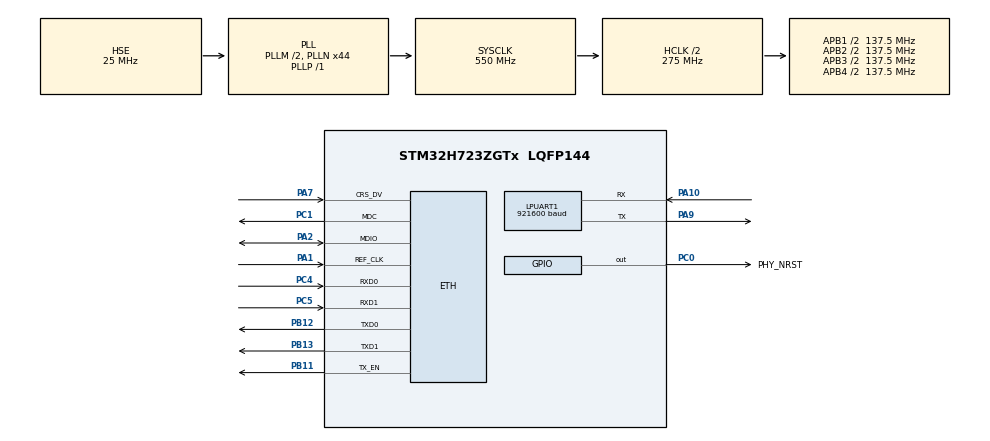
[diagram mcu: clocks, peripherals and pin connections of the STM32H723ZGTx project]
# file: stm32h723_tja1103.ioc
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CORTEX_M7.CPU_DCache=Enabled
CORTEX_M7.CPU_ICache=Enabled
CORTEX_M7.default_mode_Activation=1
ETH.MediaInterface=HAL_ETH_RMII_MODE
LPUART1.BaudRate=921600
LPUART1.DMADisableonRxErrorParam=UART_ADVFEATURE_DMA_DISABLEONRXERROR
LPUART1.OverrunDisableParam=UART_ADVFEATURE_OVERRUN_DISABLE
LWIP.BSP.number=1
LWIP.GATEWAY_ADDRESS=192.168.000.001
LWIP.IP_ADDRESS=192.168.000.068
LWIP.LWIP_DHCP=0
LWIP.NETMASK_ADDRESS=255.255.255.000
LWIP.Version=v2.2.1_Cube
LWIP0.BSP.STBoard=false
LWIP0.BSP.api=BSP_COMPONENT_DRIVER
LWIP0.BSP.component=USER_PHY
LWIP0.BSP.instance=USER_PHY
LWIP0.BSP.name=Driver_PHY
LWIP0.BSP.semaphore=S_USER_PHY
LWIP0.BSP.solution=USER_PHY
Mcu.Family=STM32H7
Mcu.Name=STM32H723ZGTx
Mcu.Package=LQFP144
NVIC.ETH_IRQn=true\:0\:0\:false\:false\:true\:true\:true\:true
NVIC.ETH_WKUP_IRQn=true\:0\:0\:false\:false\:true\:true\:true\:true
NVIC.PriorityGroup=NVIC_PRIORITYGROUP_4
PA1.Mode=RMII
PA1.Signal=ETH_REF_CLK
PA10.Mode=Asynchronous
PA10.Signal=LPUART1_RX
PA13(JTMS/SWDIO).Mode=Serial_Wire
PA13(JTMS/SWDIO).Signal=DEBUG_JTMS-SWDIO
PA14(JTCK/SWCLK).Mode=Serial_Wire
PA14(JTCK/SWCLK).Signal=DEBUG_JTCK-SWCLK
PA2.Mode=RMII
PA2.Signal=ETH_MDIO
PA7.Mode=RMII
PA7.Signal=ETH_CRS_DV
PA9.Mode=Asynchronous
PA9.Signal=LPUART1_TX
PB11.Mode=RMII
PB11.Signal=ETH_TX_EN
PB12.Mode=RMII
PB12.Signal=ETH_TXD0
PB13.Mode=RMII
PB13.Signal=ETH_TXD1
PC0.GPIO_Label=PHY_NRST
PC0.PinState=GPIO_PIN_RESET
PC0.Signal=GPIO_Output
PC1.Mode=RMII
PC1.Signal=ETH_MDC
PC14-OSC32_IN.Mode=LSE-External-Oscillator
PC14-OSC32_IN.Signal=RCC_OSC32_IN
PC15-OSC32_OUT.Mode=LSE-External-Oscillator
PC15-OSC32_OUT.Signal=RCC_OSC32_OUT
PC4.Mode=RMII
PC4.Signal=ETH_RXD0
PC5.Mode=RMII
PC5.Signal=ETH_RXD1
PH0-OSC_IN.Mode=HSE-External-Oscillator
PH0-OSC_IN.Signal=RCC_OSC_IN
PH1-OSC_OUT.Mode=HSE-External-Oscillator
PH1-OSC_OUT.Signal=RCC_OSC_OUT
ProjectManager.HeapSize=0x800
ProjectManager.StackSize=0x1000
ProjectManager.TargetToolchain=CMake
RCC.ADCFreq_Value=50390625
RCC.APB1Freq_Value=137500000
RCC.APB2Freq_Value=137500000
RCC.APB3Freq_Value=137500000
RCC.APB4Freq_Value=137500000
RCC.CortexFreq_Value=550000000
RCC.D1PPRE=RCC_APB3_DIV2
RCC.D2PPRE1=RCC_APB1_DIV2
RCC.D2PPRE2=RCC_APB2_DIV2
RCC.D3PPRE=RCC_APB4_DIV2
RCC.DIVM1=2
RCC.DIVN1=44
RCC.DIVP1=1
RCC.HCLKFreq_Value=275000000
RCC.HPRE=RCC_HCLK_DIV2
RCC.PLLFRACN=0
RCC.PLLSourceVirtual=RCC_PLLSOURCE_HSE
RCC.SYSCLKFreq_VALUE=550000000
RCC.SYSCLKSource=RCC_SYSCLKSOURCE_PLLCLK
RCC.USBFreq_Value=275000000
VP_LWIP_VS_Enabled.Mode=Enabled
VP_MEMORYMAP_VS_MEMORYMAP.Mode=CurAppReg
board=custom

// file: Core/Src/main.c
/* USER CODE BEGIN Header */
/**
  ******************************************************************************
  * @file           : main.c
  * @brief          : Main program body
  ******************************************************************************
  * @attention
  *
  * Copyright (c) 2026 STMicroelectronics.
  * All rights reserved.
  *
  * This software is licensed under terms that can be found in the LICENSE file
  * in the root directory of this software component.
  * If no LICENSE file comes with this software, it is provided AS-IS.
  *
  ******************************************************************************
  */
/* USER CODE END Header */
#include "main.h"
#include "lwip.h"

/* USER CODE BEGIN Includes */
#include "lwip/apps/lwiperf.h"
#include "lwip/ip4_addr.h"
#include "lwip/ip_addr.h"
#include "lwip/udp.h"
#include "shell_port.h"
#include <stdarg.h>
#include <stdio.h>

/* USER CODE END Includes */

/* USER CODE BEGIN PD */
#define APP_UDP_ECHO_PORT                        7U
#define APP_IPERF_PORT                           LWIPERF_TCP_PORT_DEFAULT

/* USER CODE END PD */

UART_HandleTypeDef hlpuart1;

/* USER CODE BEGIN PV */
static struct udp_pcb *udp_echo_pcb;
static void *lwiperf_session;

/* USER CODE END PV */

void SystemClock_Config(void);
static void MPU_Config(void);
static void MX_GPIO_Init(void);
static void MX_LPUART1_UART_Init(void);
/* USER CODE BEGIN PFP */
static void CPU_CACHE_Enable(void);
int debug_printf(const char *format, ...);
static void App_NetworkServicesInit(void);
static void App_PrintNetworkBanner(void);
static void App_UdpEchoInit(void);
static void App_UdpEchoRecv(void *arg, struct udp_pcb *pcb, struct pbuf *p, const ip_addr_t *addr, u16_t port);
static const char *App_LwiperfReportTypeString(enum lwiperf_report_type report_type);
static void App_LwiperfReport(void *arg, enum lwiperf_report_type report_type,
                              const ip_addr_t *local_addr, u16_t local_port,
                              const ip_addr_t *remote_addr, u16_t remote_port,
                              u32_t bytes_transferred, u32_t ms_duration,
                              u32_t bandwidth_kbitpsec);
static void App_LwiperfInit(void);

/* USER CODE END PFP */

/* USER CODE BEGIN 0 */
extern struct netif gnetif;

/* USER CODE END 0 */

int main(void)
{

  /* MPU Configuration--------------------------------------------------------*/
  MPU_Config();

  /* Enable the CPU caches before HAL and LwIP start touching AXI SRAM. */
  CPU_CACHE_Enable();

  /* MCU Configuration--------------------------------------------------------*/

  /* Reset of all peripherals, Initializes the Flash interface and the Systick. */
  HAL_Init();

  /* Configure the system clock */
  SystemClock_Config();

  /* Initialize all configured peripherals */
  MX_GPIO_Init();
  MX_LPUART1_UART_Init();
  MX_LWIP_Init();
  /* USER CODE BEGIN 2 */
  debug_printf("\r\nstm32h723_tja1103 boot\r\n");
  Shell_Init(&hlpuart1);
  Shell_PrintBanner();
  App_NetworkServicesInit();
  App_PrintNetworkBanner();

  /* USER CODE END 2 */

  /* Infinite loop */
  while (1)
  {

    /* USER CODE BEGIN 3 */
    MX_LWIP_Process();
    Shell_Process();
  }
  /* USER CODE END 3 */
}

void SystemClock_Config(void)
{
  RCC_OscInitTypeDef RCC_OscInitStruct = {0};
  RCC_ClkInitTypeDef RCC_ClkInitStruct = {0};

  /** Supply configuration update enable
  */
  HAL_PWREx_ConfigSupply(PWR_LDO_SUPPLY);

  /** Configure the main internal regulator output voltage
  */
  __HAL_PWR_VOLTAGESCALING_CONFIG(PWR_REGULATOR_VOLTAGE_SCALE0);

  while(!__HAL_PWR_GET_FLAG(PWR_FLAG_VOSRDY)) {}

  /* ETH DMA descriptors and the zero-copy RX pool live in D2 SRAM1. */
  __HAL_RCC_D2SRAM1_CLK_ENABLE();

  /** Initializes the RCC Oscillators according to the specified parameters
  * in the RCC_OscInitTypeDef structure.
  */
  RCC_OscInitStruct.OscillatorType = RCC_OSCILLATORTYPE_HSE;
  RCC_OscInitStruct.HSEState = RCC_HSE_ON;
  RCC_OscInitStruct.PLL.PLLState = RCC_PLL_ON;
  RCC_OscInitStruct.PLL.PLLSource = RCC_PLLSOURCE_HSE;
  RCC_OscInitStruct.PLL.PLLM = 2;
  RCC_OscInitStruct.PLL.PLLN = 44;
  RCC_OscInitStruct.PLL.PLLP = 1;
  RCC_OscInitStruct.PLL.PLLQ = 2;
  RCC_OscInitStruct.PLL.PLLR = 2;
  RCC_OscInitStruct.PLL.PLLRGE = RCC_PLL1VCIRANGE_3;
  RCC_OscInitStruct.PLL.PLLVCOSEL = RCC_PLL1VCOWIDE;
  RCC_OscInitStruct.PLL.PLLFRACN = 0;
  if (HAL_RCC_OscConfig(&RCC_OscInitStruct) != HAL_OK)
  {
    Error_Handler();
  }

  /** Initializes the CPU, AHB and APB buses clocks
  */
  RCC_ClkInitStruct.ClockType = RCC_CLOCKTYPE_HCLK|RCC_CLOCKTYPE_SYSCLK
                              |RCC_CLOCKTYPE_PCLK1|RCC_CLOCKTYPE_PCLK2
                              |RCC_CLOCKTYPE_D3PCLK1|RCC_CLOCKTYPE_D1PCLK1;
  RCC_ClkInitStruct.SYSCLKSource = RCC_SYSCLKSOURCE_PLLCLK;
  RCC_ClkInitStruct.SYSCLKDivider = RCC_SYSCLK_DIV1;
  RCC_ClkInitStruct.AHBCLKDivider = RCC_HCLK_DIV2;
  RCC_ClkInitStruct.APB3CLKDivider = RCC_APB3_DIV2;
  RCC_ClkInitStruct.APB1CLKDivider = RCC_APB1_DIV2;
  RCC_ClkInitStruct.APB2CLKDivider = RCC_APB2_DIV2;
  RCC_ClkInitStruct.APB4CLKDivider = RCC_APB4_DIV2;

  if (HAL_RCC_ClockConfig(&RCC_ClkInitStruct, FLASH_LATENCY_3) != HAL_OK)
  {
    Error_Handler();
  }
}

static void MX_LPUART1_UART_Init(void)
{

  hlpuart1.Instance = LPUART1;
  hlpuart1.Init.BaudRate = 921600;
  hlpuart1.Init.WordLength = UART_WORDLENGTH_8B;
  hlpuart1.Init.StopBits = UART_STOPBITS_1;
  hlpuart1.Init.Parity = UART_PARITY_NONE;
  hlpuart1.Init.Mode = UART_MODE_TX_RX;
  hlpuart1.Init.HwFlowCtl = UART_HWCONTROL_NONE;
  hlpuart1.Init.OneBitSampling = UART_ONE_BIT_SAMPLE_DISABLE;
  hlpuart1.Init.ClockPrescaler = UART_PRESCALER_DIV1;
  hlpuart1.AdvancedInit.AdvFeatureInit = UART_ADVFEATURE_RXOVERRUNDISABLE_INIT|UART_ADVFEATURE_DMADISABLEONERROR_INIT;
  hlpuart1.AdvancedInit.OverrunDisable = UART_ADVFEATURE_OVERRUN_DISABLE;
  hlpuart1.AdvancedInit.DMADisableonRxError = UART_ADVFEATURE_DMA_DISABLEONRXERROR;
  hlpuart1.FifoMode = UART_FIFOMODE_DISABLE;
  if (HAL_UART_Init(&hlpuart1) != HAL_OK)
  {
    Error_Handler();
  }
  if (HAL_UARTEx_SetTxFifoThreshold(&hlpuart1, UART_TXFIFO_THRESHOLD_1_8) != HAL_OK)
  {
    Error_Handler();
  }
  if (HAL_UARTEx_SetRxFifoThreshold(&hlpuart1, UART_RXFIFO_THRESHOLD_1_8) != HAL_OK)
  {
    Error_Handler();
  }
  if (HAL_UARTEx_DisableFifoMode(&hlpuart1) != HAL_OK)
  {
    Error_Handler();
  }

}

static void MX_GPIO_Init(void)
{
  GPIO_InitTypeDef GPIO_InitStruct = {0};

  /* GPIO Ports Clock Enable */
  __HAL_RCC_GPIOC_CLK_ENABLE();
  __HAL_RCC_GPIOH_CLK_ENABLE();
  __HAL_RCC_GPIOA_CLK_ENABLE();
  __HAL_RCC_GPIOB_CLK_ENABLE();

  /*Configure GPIO pin Output Level */
  HAL_GPIO_WritePin(PHY_NRST_GPIO_Port, PHY_NRST_Pin, GPIO_PIN_RESET);

  /*Configure GPIO pin : PHY_NRST_Pin */
  GPIO_InitStruct.Pin = PHY_NRST_Pin;
  GPIO_InitStruct.Mode = GPIO_MODE_OUTPUT_PP;
  GPIO_InitStruct.Pull = GPIO_NOPULL;
  GPIO_InitStruct.Speed = GPIO_SPEED_FREQ_LOW;
  HAL_GPIO_Init(PHY_NRST_GPIO_Port, &GPIO_InitStruct);

}

/* USER CODE BEGIN 4 */
int debug_printf(const char *format, ...)
{
  char buffer[256];
  int length;
  int transmit_length;
  va_list args;

  va_start(args, format);
  length = vsnprintf(buffer, sizeof(buffer), format, args);
  va_end(args);

  if (length <= 0)
  {
    return length;
  }

  transmit_length = (length >= (int)sizeof(buffer)) ? ((int)sizeof(buffer) - 1) : length;
  HAL_UART_Transmit(&hlpuart1, (uint8_t *)buffer, (uint16_t)transmit_length, HAL_MAX_DELAY);
  return transmit_length;
}

static void App_NetworkServicesInit(void)
{
  App_UdpEchoInit();
  App_LwiperfInit();
}

static void App_PrintNetworkBanner(void)
{
  const ip4_addr_t *ip;
  const ip4_addr_t *mask;
  const ip4_addr_t *gw;

  ip = netif_ip4_addr(&gnetif);
  mask = netif_ip4_netmask(&gnetif);
  gw = netif_ip4_gw(&gnetif);

  debug_printf("Network ready IP=%u.%u.%u.%u Mask=%u.%u.%u.%u GW=%u.%u.%u.%u\r\n",
               (unsigned int)ip4_addr1_16(ip),
               (unsigned int)ip4_addr2_16(ip),
               (unsigned int)ip4_addr3_16(ip),
               (unsigned int)ip4_addr4_16(ip),
               (unsigned int)ip4_addr1_16(mask),
               (unsigned int)ip4_addr2_16(mask),
               (unsigned int)ip4_addr3_16(mask),
               (unsigned int)ip4_addr4_16(mask),
               (unsigned int)ip4_addr1_16(gw),
               (unsigned int)ip4_addr2_16(gw),
               (unsigned int)ip4_addr3_16(gw),
               (unsigned int)ip4_addr4_16(gw));
  debug_printf("UDP echo server on port %u\r\n", (unsigned int)APP_UDP_ECHO_PORT);
  debug_printf("TCP iperf server on port %u\r\n", (unsigned int)APP_IPERF_PORT);
}

static void App_UdpEchoRecv(void *arg, struct udp_pcb *pcb, struct pbuf *p, const ip_addr_t *addr, u16_t port)
{
  (void)arg;

  if (p != NULL)
  {
    udp_sendto(pcb, p, addr, port);
    pbuf_free(p);
  }
}

static void App_UdpEchoInit(void)
{
  udp_echo_pcb = udp_new();
  if (udp_echo_pcb == NULL)
  {
    debug_printf("udp_new failed\r\n");
    return;
  }

  if (udp_bind(udp_echo_pcb, IP_ADDR_ANY, APP_UDP_ECHO_PORT) != ERR_OK)
  {
    debug_printf("udp_bind failed\r\n");
    udp_remove(udp_echo_pcb);
    udp_echo_pcb = NULL;
    return;
  }

  udp_recv(udp_echo_pcb, App_UdpEchoRecv, NULL);
}

static const char *App_LwiperfReportTypeString(enum lwiperf_report_type report_type)
{
  switch (report_type)
  {
    case LWIPERF_TCP_DONE_SERVER:
      return "server-done";
    case LWIPERF_TCP_DONE_CLIENT:
      return "client-done";
    case LWIPERF_TCP_ABORTED_LOCAL:
      return "aborted-local";
    case LWIPERF_TCP_ABORTED_LOCAL_DATAERROR:
      return "aborted-data";
    case LWIPERF_TCP_ABORTED_LOCAL_TXERROR:
      return "aborted-tx";
    case LWIPERF_TCP_ABORTED_REMOTE:
      return "aborted-remote";
    default:
      return "unknown";
  }
}

static void App_LwiperfReport(void *arg, enum lwiperf_report_type report_type,
                              const ip_addr_t *local_addr, u16_t local_port,
                              const ip_addr_t *remote_addr, u16_t remote_port,
                              u32_t bytes_transferred, u32_t ms_duration,
                              u32_t bandwidth_kbitpsec)
{
  char local_addr_text[IPADDR_STRLEN_MAX];
  char remote_addr_text[IPADDR_STRLEN_MAX];

  (void)arg;

  ipaddr_ntoa_r(local_addr, local_addr_text, sizeof(local_addr_text));
  ipaddr_ntoa_r(remote_addr, remote_addr_text, sizeof(remote_addr_text));

  debug_printf("iperf %s local=%s:%u remote=%s:%u bytes=%lu time_ms=%lu avg_kbps=%lu\r\n",
               App_LwiperfReportTypeString(report_type),
               local_addr_text,
               (unsigned int)local_port,
               remote_addr_text,
               (unsigned int)remote_port,
               (unsigned long)bytes_transferred,
               (unsigned long)ms_duration,
               (unsigned long)bandwidth_kbitpsec);
}

static void App_LwiperfInit(void)
{
  lwiperf_session = lwiperf_start_tcp_server_default(App_LwiperfReport, NULL);
  if (lwiperf_session == NULL)
  {
    debug_printf("lwiperf_start_tcp_server_default failed\r\n");
  }
}

/* USER CODE END 4 */

 /* MPU Configuration */

void MPU_Config(void)
{
  MPU_Region_InitTypeDef MPU_InitStruct = {0};

  /* Disables the MPU */
  HAL_MPU_Disable();

  /** Initializes and configures the Region and the memory to be protected
  */
  MPU_InitStruct.Enable = MPU_REGION_ENABLE;
  MPU_InitStruct.Number = MPU_REGION_NUMBER0;
  MPU_InitStruct.BaseAddress = 0x0;
  MPU_InitStruct.Size = MPU_REGION_SIZE_4GB;
  MPU_InitStruct.SubRegionDisable = 0x87;
  MPU_InitStruct.TypeExtField = MPU_TEX_LEVEL0;
  MPU_InitStruct.AccessPermission = MPU_REGION_NO_ACCESS;
  MPU_InitStruct.DisableExec = MPU_INSTRUCTION_ACCESS_DISABLE;
  MPU_InitStruct.IsShareable = MPU_ACCESS_SHAREABLE;
  MPU_InitStruct.IsCacheable = MPU_ACCESS_NOT_CACHEABLE;
  MPU_InitStruct.IsBufferable = MPU_ACCESS_NOT_BUFFERABLE;

  HAL_MPU_ConfigRegion(&MPU_InitStruct);

  /* Keep the ETH DMA descriptors and RX pool coherent when D-Cache is enabled. */
  MPU_InitStruct.Enable = MPU_REGION_ENABLE;
  MPU_InitStruct.Number = MPU_REGION_NUMBER1;
  MPU_InitStruct.BaseAddress = 0x30000000;
  MPU_InitStruct.Size = MPU_REGION_SIZE_32KB;
  MPU_InitStruct.SubRegionDisable = 0x00;
  MPU_InitStruct.TypeExtField = MPU_TEX_LEVEL1;
  MPU_InitStruct.AccessPermission = MPU_REGION_FULL_ACCESS;
  MPU_InitStruct.DisableExec = MPU_INSTRUCTION_ACCESS_ENABLE;
  MPU_InitStruct.IsShareable = MPU_ACCESS_SHAREABLE;
  MPU_InitStruct.IsCacheable = MPU_ACCESS_NOT_CACHEABLE;
  MPU_InitStruct.IsBufferable = MPU_ACCESS_NOT_BUFFERABLE;

  HAL_MPU_ConfigRegion(&MPU_InitStruct);
  /* Enables the MPU */
  HAL_MPU_Enable(MPU_PRIVILEGED_DEFAULT);

}

static void CPU_CACHE_Enable(void)
{
  SCB_EnableICache();
  SCB_EnableDCache();
}

void Error_Handler(void)
{
  /* USER CODE BEGIN Error_Handler_Debug */
  /* User can add his own implementation to report the HAL error return state */
  debug_printf("Error_Handler\r\n");
  __disable_irq();
  while (1)
  {
  }
  /* USER CODE END Error_Handler_Debug */
}
